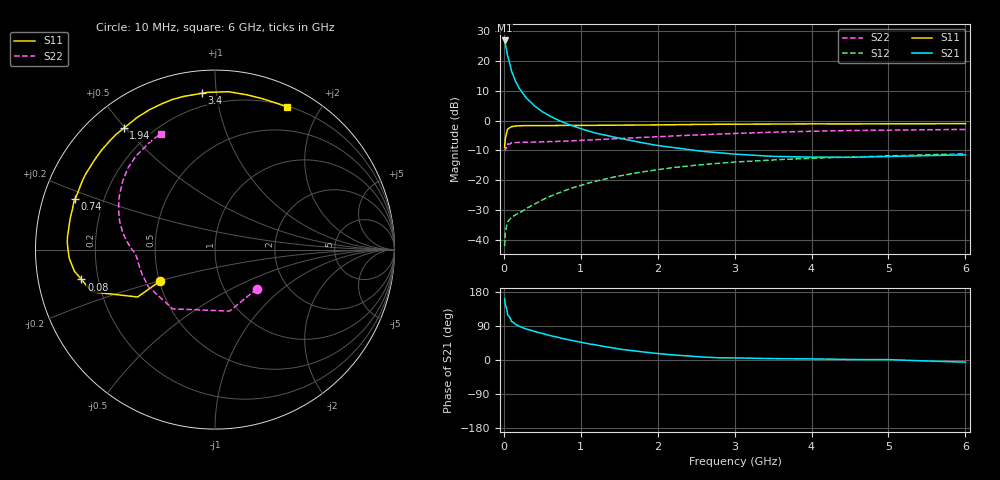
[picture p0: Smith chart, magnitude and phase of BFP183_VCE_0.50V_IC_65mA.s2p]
! Infineon Technologies  Discrete & RF Semiconductors
! BFP183
! VCE = 0.50V,  IC =  65 mA
! Common Emitter S-Parameters:  Jan 2016
# GHz  S  MA  R  50
!  f  S11  S21  S12  S22
! GHz  MAG  ANG  MAG  ANG  MAG  ANG  MAG  ANG
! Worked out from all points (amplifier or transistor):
!   210 points, 10 MHz to 6 GHz, reference 50 ohm
!   highest |S21| = 26.9 dB at 10 MHz (marker M1)
!   |S21| within 3 dB of that: start of sweep to 34.07 MHz
!   unconditionally stable (mu >= 1): start of sweep to 45.43 MHz; 77.94 MHz to end of sweep
!   at 185 MHz: K = 1.47, MAG = 17.3 dB, |S12| = -31.2 dB
!   at 1.52 GHz: K = 2.14, MAG = 0.2 dB, |S12| = -18.5 dB
!   at 6 GHz: K = 1.37, MAG = -3.8 dB, |S12| = -11.2 dB
!   S11 on the Smith chart (normalised r, x): 10 MHz: 0.50, -0.20; 80 MHz: 0.14, -0.11; 740 MHz: 0.10, +0.17; 1.94 GHz: 0.10, +0.50; 3.4 GHz: 0.12, +0.91; 6 GHz: 0.21, +1.60
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0.01  0.3526 -150.2  22.17 161.6  0.0078 54.0  0.3194 -43.2
0.02  0.5053 -148.5  19.64 145.8  0.0133 49.4  0.3523 -76.7
0.05  0.7246 -161.0  12.1 118.8  0.02 37.3  0.4058 -125.6
0.08  0.7625 -167.4  8.787 111.2  0.0223 33.5  0.4075 -141.2
0.1  0.7926 -171.3  6.733 102.0  0.0238 31.4  0.425 -151.1
0.15  0.814 -176.7  4.608 94.1  0.0262 34.4  0.4286 -160.7
0.2  0.8188 180.0  3.476 89.0  0.0282 38.7  0.4311 -165.6
0.26  0.8242 176.9  2.707 84.1  0.0313 43.2  0.4322 -168.9
0.3  0.8251 175.2  2.34 81.2  0.0338 45.5  0.433 -170.6
0.4  0.8236 171.3  1.758 75.1  0.0398 50.2  0.4364 -173.3
0.5  0.8254 167.9  1.41 69.7  0.0466 53.4  0.4397 -175.1
0.6  0.8253 164.5  1.192 64.4  0.0535 55.1  0.4434 -176.5
0.74  0.8288 160.1  0.975 58.1  0.0632 56.4  0.4498 -178.1
1.02  0.8333 151.7  0.719 46.2  0.0833 56.3  0.4668 179.0
1.5  0.8406 138.8  0.505 28.8  0.1176 52.0  0.499 173.6
1.94  0.8462 126.9  0.394 18.5  0.1466 46.0  0.5318 167.6
2.02  0.8476 124.7  0.379 16.7  0.1514 45.0  0.5373 166.6
3.1  0.8706 100.2  0.269 5.2  0.2049 29.1  0.6144 149.6
3.4  0.8742 94.8  0.255 4.1  0.2157 25.1  0.6328 145.1
4.1  0.8815 83.6  0.244 2.6  0.2358 16.3  0.6679 135.5
5.1  0.8814 71.7  0.252 0.3  0.2575 6.5  0.6938 123.6
6  0.8902 63.3  0.266 -5.7  0.2752 -2.9  0.7113 115.2
